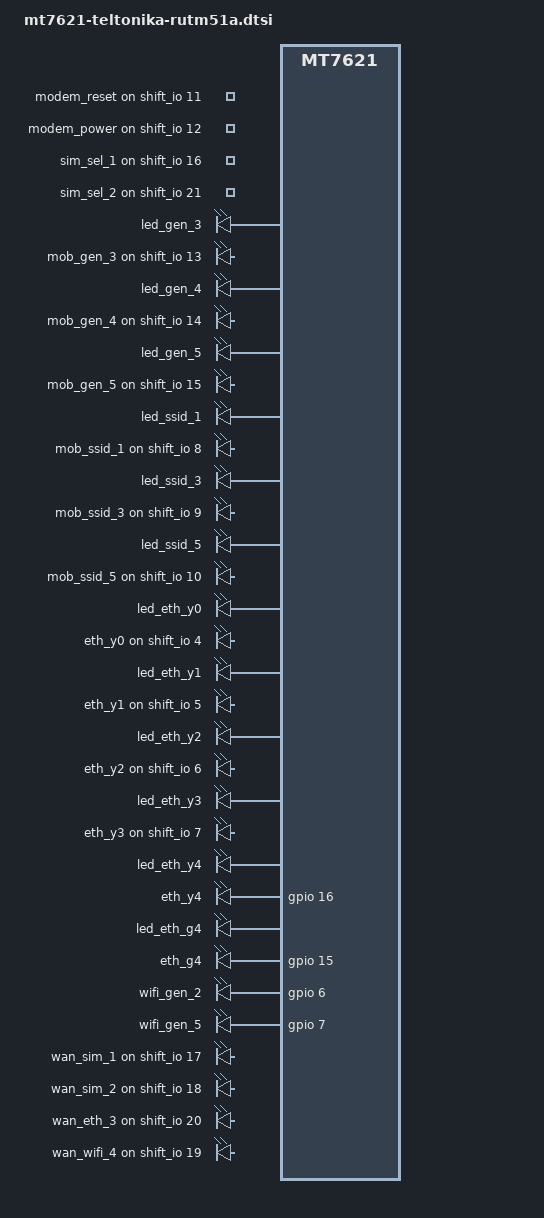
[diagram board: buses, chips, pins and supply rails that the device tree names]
// PWR, RST |G0|G10|
// IN, OUT  |G8|G12|
// SR CTRL  |G5|G9|G11|G44|
// WAN      |S17-S20|
// WIFI     |G6|G7|
// ETH      |S0-S7|G15-G16|
// 5G		|G13-G17|G46-G48|

/ {
    ext_io {

        shift_io: shift_io@0 {
            registers-number = <3>;
        };
    };

    tlt_gpios {

        gpiochip_info {

            hw_0 {
                gpiochip_3 = <24>;
            };
        };

        misc {

            GPIO_14 {
                compatible_branch = "!A";
                line_name = "GPIO_MODEM_RESET_1";
            };

            GPIO_17 {
                compatible_branch = "!A";
                line_name = "GPIO_MODEM_POWER_1";
            };

            GPIO_107 {
                compatible_branch = "A";
                line_name = "GPIO_MODEM_RESET_1";
            };

            GPIO_108 {
                compatible_branch = "A";
                line_name = "GPIO_MODEM_POWER_1";
            };

            GPIO_112 {
                compatible_branch = "A";
                line_name = "GPIO_SIM_SELECT_1";
            };

            GPIO_117 {
                compatible_branch = "A";
                line_name = "GPIO_SIM_SELECT_2";
            };
        };
    };

    gpio-export {
		compatible = "gpio-export";
		#size-cells = <0>;

		gpio_modem_reset {
			tlt-mnf,incompatible_branch = "A";
		};

		gpio_modem_power {
			tlt-mnf,incompatible_branch = "A";
		};

		gpio_modem_reset@1 {
			tlt-mnf,branch = "A";
			gpio-export,name = "modem_reset";
			gpio-export,output = <0>;
			gpios = <&shift_io 11 GPIO_ACTIVE_HIGH>;
		};

		gpio_modem_power@1 {
			tlt-mnf,branch = "A";
			gpio-export,name = "modem_power";
			gpio-export,output = <1>;
			gpios = <&shift_io 12 GPIO_ACTIVE_HIGH>;
		};

		gpio_sim_select {
			tlt-mnf,branch = "A";
			gpio-export,name = "sim_sel_1";
			gpio-export,output = <0>;
			gpios = <&shift_io 16 GPIO_ACTIVE_HIGH>;
		};

		gpio_sim_select_2 {
			tlt-mnf,branch = "A";
			gpio-export,name = "sim_sel_2";
			gpio-export,output = <0>;
			gpios = <&shift_io 21 GPIO_ACTIVE_HIGH>;
		};
	};

    leds {
		compatible = "gpio-leds";

		led_gen_3 {
			tlt-mnf,incompatible_branch = "A";
		};

		led_gen_3@1 {
			tlt-mnf,branch = "A";
			label = "mob_gen_3";
			gpios = <&shift_io 13 GPIO_ACTIVE_HIGH>;
		};

		led_gen_4 {
			tlt-mnf,incompatible_branch = "A";
		};

		led_gen_4@1 {
			tlt-mnf,branch = "A";
			label = "mob_gen_4";
			gpios = <&shift_io 14 GPIO_ACTIVE_HIGH>;
		};

		led_gen_5 {
			tlt-mnf,incompatible_branch = "A";
		};

		led_gen_5@1 {
			tlt-mnf,branch = "A";
			label = "mob_gen_5";
			gpios = <&shift_io 15 GPIO_ACTIVE_HIGH>;
		};

		led_ssid_1 {
			tlt-mnf,incompatible_branch = "A";
		};

		led_ssid_1@1 {
			tlt-mnf,branch = "A";
			label = "mob_ssid_1";
			gpios = <&shift_io 8 GPIO_ACTIVE_HIGH>;
			linux,default-trigger = "timer";
		};

		led_ssid_3 {
			tlt-mnf,incompatible_branch = "A";
		};

		led_ssid_3@1 {
			tlt-mnf,branch = "A";
			label = "mob_ssid_3";
			gpios = <&shift_io 9 GPIO_ACTIVE_HIGH>;
			linux,default-trigger = "timer";
		};

		led_ssid_5 {
			tlt-mnf,incompatible_branch = "A";
		};

		led_ssid_5@1 {
			tlt-mnf,branch = "A";
			label = "mob_ssid_5";
			gpios = <&shift_io 10 GPIO_ACTIVE_HIGH>;
			linux,default-trigger = "timer";
		};

		led_eth_y0 {
			tlt-mnf,incompatible_branch = "A";
		};

		led_eth_y0@1 {
			tlt-mnf,branch = "A";
			label = "eth_y0";
			gpios = <&shift_io 4 GPIO_ACTIVE_HIGH>;
		};

		led_eth_y1 {
			tlt-mnf,incompatible_branch = "A";
		};

		led_eth_y1@1 {
			tlt-mnf,branch = "A";
			label = "eth_y1";
			gpios = <&shift_io 5 GPIO_ACTIVE_HIGH>;
		};
		
		led_eth_y2 {
			tlt-mnf,incompatible_branch = "A";
		};

		led_eth_y2@1 {
			tlt-mnf,branch = "A";
			label = "eth_y2";
			gpios = <&shift_io 6 GPIO_ACTIVE_HIGH>;
		};

		led_eth_y3 {
			tlt-mnf,incompatible_branch = "A";
		};

		led_eth_y3@1 {
			tlt-mnf,branch = "A";
			label = "eth_y3";
			gpios = <&shift_io 7 GPIO_ACTIVE_HIGH>;
		};

		led_eth_y4 {
			tlt-mnf,incompatible_branch = "A";
		};

		led_eth_y4@1 {
			tlt-mnf,branch = "A";
			label = "eth_y4";
			gpios = <&gpio 16 GPIO_ACTIVE_HIGH>;
		};

		led_eth_g4 {
			tlt-mnf,incompatible_branch = "A";
		};

		led_eth_g4@1 {
			tlt-mnf,branch = "A";
			label = "eth_g4";
			gpios = <&gpio 15 GPIO_ACTIVE_HIGH>;
		};

		led_wifi_24@1 {
			tlt-mnf,branch = "A";
			label = "wifi_gen_2";
			gpios = <&gpio 6 GPIO_ACTIVE_HIGH>;
		};

		led_wifi_50@1 {
			tlt-mnf,branch = "A";
			label = "wifi_gen_5";
			gpios = <&gpio 7 GPIO_ACTIVE_HIGH>;
		};

		led_wan_sim1@1 {
			tlt-mnf,branch = "A";
			label = "wan_sim_1";
			gpios = <&shift_io 17 GPIO_ACTIVE_HIGH>;
		};

		led_wan_sim2@1 {
			tlt-mnf,branch = "A";
			label = "wan_sim_2";
			gpios = <&shift_io 18 GPIO_ACTIVE_HIGH>;
		};

		led_wan_eth@1 {
			tlt-mnf,branch = "A";
			label = "wan_eth_3";
			gpios = <&shift_io 20 GPIO_ACTIVE_HIGH>;
		};

		led_wan_wifi@1 {
			tlt-mnf,branch = "A";
			label = "wan_wifi_4";
			gpios = <&shift_io 19 GPIO_ACTIVE_HIGH>;
		};
		
	};
};

&mnfinfo {

	sim_cfg {
		tlt-mnf,incompatible_branch = "A";
		default = "1111020_1112020";
	};

};
